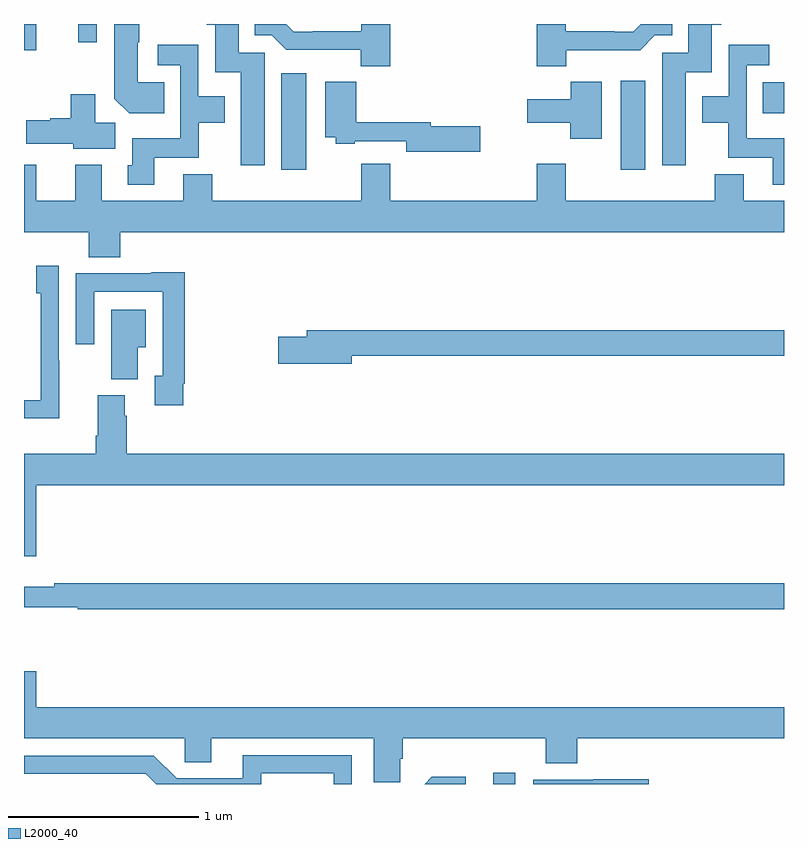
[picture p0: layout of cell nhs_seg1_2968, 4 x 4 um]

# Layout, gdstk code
import gdstk
lib = gdstk.Library(unit=1e-6, precision=1e-09)
def R(c, l, rs):  # rectangles x0, y0, x1, y1
    for r in rs: c.add(gdstk.rectangle(r[:2], r[2:], *l))
def P(c, l, *ps):  # polygons
    for p in ps: c.add(gdstk.Polygon(p, *l))
L2000_40 = (2000, 40)

nhs_seg1_2968 = lib.new_cell('nhs_seg1_2968')
R(nhs_seg1_2968, L2000_40, [(275.471,510.199,275.586,510.259), (274.355,513.432,274.486,513.94), (276.14,513.432,276.271,513.901), (276.889,513.728,277,513.892), (273,514.062,273.064,514.199), (273.286,514.104,273.384,514.199)])
P(nhs_seg1_2968, L2000_40, [(274.267,514.047),(274.129,514.047),(274.129,514.199),(273.961,514.199),(273.961,514.195),(274.007,514.195),(274.007,513.944),(274.142,513.944),(274.142,513.456),(274.267,513.456)],
  [(275.854,514.062),(276.243,514.062),(276.321,514.14),(276.412,514.14),(276.412,514.199),(276.247,514.199),(276.206,514.158),(276.107,514.158),(276.107,514.161),(275.851,514.161),(275.851,514.199),(275.699,514.199),(275.699,513.977),(275.854,513.977)],
  [(273.737,513.892),(273.598,513.892),(273.598,514.103),(273.606,514.103),(273.606,514.199),(273.476,514.199),(273.476,513.806),(273.554,513.728),(273.737,513.728)],
  [(274.928,514.199),(274.775,514.199),(274.775,514.161),(274.519,514.161),(274.519,514.158),(274.42,514.158),(274.379,514.199),(274.214,514.199),(274.214,514.14),(274.305,514.14),(274.381,514.064),(274.773,514.064),(274.773,513.977),(274.928,513.977)],
  [(276.484,513.944),(276.619,513.944),(276.619,514.195),(276.671,514.195),(276.671,514.199),(276.497,514.199),(276.497,514.047),(276.359,514.047),(276.359,513.456),(276.484,513.456)],
  [(273.685,513.494),(273.921,513.494),(273.921,513.68),(274.057,513.68),(274.057,513.82),(273.918,513.82),(273.918,514.09),(273.705,514.09),(273.705,513.981),(273.822,513.981),(273.822,513.598),(273.569,513.598),(273.569,513.456),(273.545,513.456),(273.545,513.354),(273.685,513.354)],
  [(277,513.598),(276.804,513.598),(276.804,513.981),(276.922,513.981),(276.922,514.09),(276.708,514.09),(276.708,513.82),(276.569,513.82),(276.569,513.68),(276.706,513.68),(276.706,513.494),(276.941,513.494),(276.941,513.354),(277,513.354)],
  [(276.04,513.895),(275.878,513.895),(275.878,513.802),(275.649,513.802),(275.649,513.68),(275.876,513.68),(275.876,513.594),(276.04,513.594)],
  [(275.401,513.662),(275.14,513.662),(275.14,513.683),(274.748,513.683),(274.748,513.895),(274.586,513.895),(274.586,513.602),(274.641,513.602),(274.641,513.57),(274.741,513.57),(274.741,513.582),(275.012,513.582),(275.012,513.527),(275.401,513.527)],
  [(273.481,513.68),(273.376,513.68),(273.376,513.829),(273.247,513.829),(273.247,513.704),(273.138,513.704),(273.138,513.693),(273.013,513.693),(273.013,513.569),(273.258,513.569),(273.258,513.542),(273.481,513.542)],
  [(273.506,513.104),(277,513.104),(277,513.268),(276.787,513.268),(276.787,513.409),(276.635,513.409),(276.635,513.268),(275.851,513.268),(275.851,513.463),(275.699,513.463),(275.699,513.268),(274.928,513.268),(274.928,513.463),(274.775,513.463),(274.775,513.268),(273.992,513.268),(273.992,513.409),(273.839,513.409),(273.839,513.268),(273.409,513.268),(273.409,513.457),(273.269,513.457),(273.269,513.268),(273.064,513.268),(273.064,513.457),(273,513.457),(273,513.104),(273.341,513.104),(273.341,512.971),(273.506,512.971)],
  [(273.185,512.426),(273.183,512.426),(273.183,512.926),(273.065,512.926),(273.065,512.781),(273.087,512.781),(273.087,512.22),(273,512.22),(273,512.123),(273.185,512.123)],
  [(273.838,512.305),(273.845,512.305),(273.845,512.893),(273.669,512.893),(273.669,512.886),(273.273,512.886),(273.273,512.514),(273.369,512.514),(273.369,512.79),(273.729,512.79),(273.729,512.349),(273.689,512.349),(273.689,512.193),(273.838,512.193)],
  [(273.598,512.498),(273.64,512.498),(273.64,512.695),(273.458,512.695),(273.458,512.329),(273.598,512.329)],
  [(274.726,512.452),(277,512.452),(277,512.588),(274.487,512.588),(274.487,512.552),(274.338,512.552),(274.338,512.41),(274.726,512.41)],
  [(273.064,511.772),(277,511.772),(277,511.936),(273.542,511.936),(273.542,512.138),(273.529,512.138),(273.529,512.244),(273.389,512.244),(273.389,512.032),(273.377,512.032),(273.377,511.936),(273,511.936),(273,511.398),(273.064,511.398)],
  [(277,511.256),(273.16,511.256),(273.16,511.237),(273,511.237),(273,511.128),(273.284,511.128),(273.284,511.12),(277,511.12)],
  [(274.98,510.331),(274.994,510.331),(274.994,510.44),(275.747,510.44),(275.747,510.307),(275.912,510.307),(275.912,510.44),(277,510.44),(277,510.604),(273.064,510.604),(273.064,510.793),(273,510.793),(273,510.44),(273.846,510.44),(273.846,510.313),(273.985,510.313),(273.985,510.44),(274.841,510.44),(274.841,510.208),(274.98,510.208)],
  [(274.248,510.255),(274.629,510.255),(274.629,510.199),(274.725,510.199),(274.725,510.351),(274.151,510.351),(274.151,510.228),(273.804,510.228),(273.684,510.348),(273,510.348),(273,510.252),(273.642,510.252),(273.695,510.199),(274.248,510.199)],
  [(275.326,510.236),(275.147,510.236),(275.11,510.199),(275.326,510.199)],
  [(276.287,510.224),(275.995,510.224),(275.995,510.222),(275.679,510.222),(275.679,510.199),(276.287,510.199)])

lib.write_gds('nhs_seg1_2968.gds')
